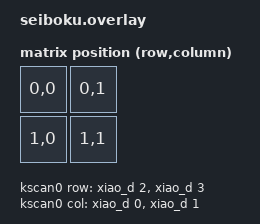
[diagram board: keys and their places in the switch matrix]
#include <dt-bindings/zmk/matrix_transform.h>
#include <zephyr/dt-bindings/input/input-event-codes.h>
#include <dt-bindings/zmk/input_transform.h>
#include <input/processors.dtsi>

/ {
    kscan0: kscan0 {
        compatible = "zmk,kscan-gpio-matrix";
        diode-direction = "col2row";
        wakeup-source;

        col-gpios
            = <&xiao_d 0 GPIO_ACTIVE_HIGH>
            , <&xiao_d 1 GPIO_ACTIVE_HIGH>
            ;

        row-gpios
            = <&xiao_d 2 (GPIO_ACTIVE_HIGH | GPIO_PULL_DOWN)>
            , <&xiao_d 3 (GPIO_ACTIVE_HIGH | GPIO_PULL_DOWN)>
            ;
    };

    default_transform: keymap_transform0 {
        compatible = "zmk,matrix-transform";
        columns = <2>; // Length of the "col-gpios" array
        rows = <2>; // Length of the "row-gpios" array
        map = <
        //   Key 1 | Key 2
            RC(0,0) RC(0,1)
        //   Key 3 | Key 4
            RC(1,0) RC(1,1)
        >;
    };

    chosen {
        zmk,kscan = &kscan0;
        zmk,matrix_transform = &default_transform;
    };
};

&pinctrl {
    spi0_default: spi0_default {
        group1 {
            psels = <NRF_PSEL(SPIM_SCK, 1, 13)>,  // SCLK -> D8 (P1.13)
                    <NRF_PSEL(SPIM_MOSI, 1, 14)>, // MOSI -> D9 (P1.14)
                    <NRF_PSEL(SPIM_MISO, 1, 11)>; // MISO -> D6 (P1.11)
        };
    };

    spi0_sleep: spi0_sleep {
        group1 {
            psels = <NRF_PSEL(SPIM_SCK, 1, 13)>,  // SCLK -> D8 (P1.13)
                    <NRF_PSEL(SPIM_MOSI, 1, 14)>, // MOSI -> D9 (P1.14)
                    <NRF_PSEL(SPIM_MISO, 1, 11)>; // MISO -> D6 (P1.11)
            low-power-enable;
        };
    };
};

&spi0 {
    status = "okay";
    compatible = "nordic,nrf-spim";
    pinctrl-0 = <&spi0_default>;
    pinctrl-1 = <&spi0_sleep>;
    pinctrl-names = "default", "sleep";
    cs-gpios = <&xiao_d 7 GPIO_ACTIVE_LOW>; //NCS

    trackball: trackball@0 {
        status = "okay";
        compatible = "pixart,pmw3360";
        reg = <0>;
        spi-max-frequency = <8000000>;
        irq-gpios = <&xiao_d 10 (GPIO_ACTIVE_LOW | GPIO_PULL_UP)>; // MOT -> D10
        cpi = <400>;
    };
};

/ {
    trackball_listener {
        compatible = "zmk,input-listener";
        device = <&trackball>;
        input-processors = <&zip_xy_transform (INPUT_TRANSFORM_XY_SWAP)>;
    };
};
